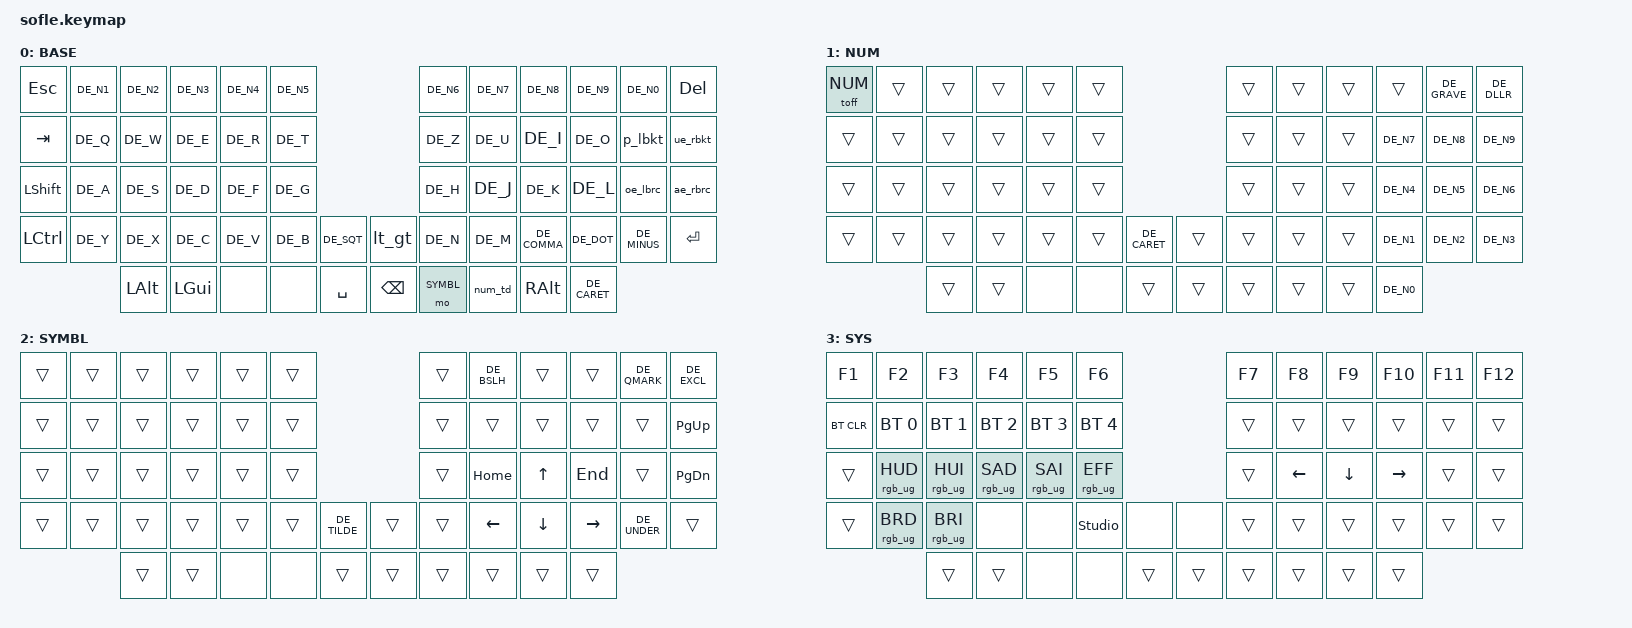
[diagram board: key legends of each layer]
/*
 * Copyright (c) 2020 The ZMK Contributors
 *
 * SPDX-License-Identifier: MIT
 */

#include <behaviors.dtsi>
#include <dt-bindings/zmk/keys.h>
#include <dt-bindings/zmk/bt.h>
#include <dt-bindings/zmk/modifiers.h>
#include <dt-bindings/zmk/rgb.h>


#include "ch-de.h"

#define BASE  0
#define NUM   1
#define SYMBL 2
#define SYS   3

/ {
        conditional_layers {
                compatible = "zmk,conditional-layers";

                system_layer {
                        if-layers = <NUM SYMBL>;
                        then-layer = <SYS>;
                };
        };

        behaviors {
                lt_gt: less_greater {
                        compatible = "zmk,behavior-mod-morph";
                        #binding-cells = <0>;
                        bindings = <&kp DE_LT>, <&kp DE_GT>;
                        mods = <(MOD_LSFT|MOD_RSFT)>;
                };

                tld_crt: tilde_caret {
                        compatible = "zmk,behavior-mod-morph";
                        #binding-cells = <0>;
                        bindings = <&kp DE_TILDE>, <&kp DE_CARET>;
                        mods = <(MOD_LSFT|MOD_RSFT)>;
                };

                dllr_excl: dollar_exclamation {
                        compatible = "zmk,behavior-mod-morph";
                        #binding-cells = <0>;
                        bindings = <&kp DE_DLLR>, <&kp DE_EXCL>;
                        mods = <(MOD_LSFT|MOD_RSFT)>;
                };

                p_lbkt: p_left_bracket {
                        compatible = "zmk,behavior-mod-morph";
                        #binding-cells = <0>;
                        bindings = <&kp DE_P>, <&kp DE_U_UMLAUT>;
                        mods = <(MOD_RALT)>;
                };

                ue_rbkt: ue_right_bracket {
                        compatible = "zmk,behavior-mod-morph";
                        #binding-cells = <0>;
                        bindings = <&kp DE_U_UMLAUT>, <&kp DE_UMLAUT>;
                        mods = <(MOD_RALT)>;
                };

                oe_lbrc: oe_left_brace {
                        compatible = "zmk,behavior-mod-morph";
                        #binding-cells = <0>;
                        bindings = <&kp DE_O_UMLAUT>, <&kp DE_A_UMLAUT>;
                        mods = <(MOD_RALT)>;
                };

                ae_rbrc: ae_right_brace {
                        compatible = "zmk,behavior-mod-morph";
                        #binding-cells = <0>;
                        bindings = <&kp DE_A_UMLAUT>, <&kp DE_DLLR>;
                        mods = <(MOD_RALT)>;
                };

                ton: toggle_layer_on {
                        compatible = "zmk,behavior-toggle-layer";
                        #binding-cells = <1>;
                        toggle-mode = "on";
                };

                toff: toggle_layer_off {
                        compatible = "zmk,behavior-toggle-layer";
                        #binding-cells = <1>;
                        toggle-mode = "off";
                };

                mo_none: momentary_layer_no_tap {
                        compatible = "zmk,behavior-hold-tap";
                        #binding-cells = <2>;
                        flavor = "hold-preferred";
                        tapping-term-ms = <200>;
                        bindings = <&mo>, <&none>;
                };

                num_td: number_layer_tap_dance {
                        compatible = "zmk,behavior-tap-dance";
                        #binding-cells = <0>;
                        tapping-term-ms = <200>;
                        bindings = <&mo_none NUM 0>, <&ton NUM>;
                };
        };

        keymap {
                compatible = "zmk,keymap";

                base_layer {
                        display-name = "BASE";
                        bindings = <
        &kp ESC      &kp DE_N1         &kp DE_N2         &kp DE_N3         &kp DE_N4         &kp DE_N5                                           &kp DE_N6        &kp DE_N7       &kp DE_N8         &kp DE_N9          &kp DE_N0           &kp DEL
        &kp TAB      &kp DE_Q          &kp DE_W          &kp DE_E          &kp DE_R          &kp DE_T                                            &kp DE_Z         &kp DE_U        &kp DE_I          &kp DE_O           &p_lbkt             &ue_rbkt
        &kp LSHFT    &kp DE_A          &kp DE_S          &kp DE_D          &kp DE_F          &kp DE_G                                            &kp DE_H         &kp DE_J        &kp DE_K          &kp DE_L           &oe_lbrc            &ae_rbrc
        &kp LCTRL    &kp DE_Y          &kp DE_X          &kp DE_C          &kp DE_V          &kp DE_B         &kp DE_SQT         &lt_gt          &kp DE_N         &kp DE_M        &kp DE_COMMA      &kp DE_DOT         &kp DE_MINUS        &kp RET
                                       &kp LALT          &kp LGUI          &none             &none            &kp SPACE          &kp BACKSPACE   &mo SYMBL        &num_td         &kp RALT          &kp DE_CARET
                        >;
                };

                number_layer {
                        display-name = "NUM";
                        bindings = <
        &toff NUM    &trans            &trans            &trans            &trans            &trans                                               &trans           &trans          &trans            &trans             &kp DE_GRAVE         &kp DE_DLLR
        &trans       &trans            &trans            &trans            &trans            &trans                                               &trans           &trans          &trans            &kp DE_N7          &kp DE_N8            &kp DE_N9
        &trans       &trans            &trans            &trans            &trans            &trans                                               &trans           &trans          &trans            &kp DE_N4          &kp DE_N5            &kp DE_N6
        &trans       &trans            &trans            &trans            &trans            &trans            &kp DE_CARET       &trans          &trans           &trans          &trans            &kp DE_N1          &kp DE_N2            &kp DE_N3
                                       &trans            &trans            &none             &none             &trans             &trans          &trans           &trans          &trans            &kp DE_N0
                        >; 
                };

                symbol_layer {
                        display-name = "SYMBL";
                        bindings = <
        &trans       &trans            &trans            &trans            &trans            &trans                                               &trans           &kp DE_BSLH     &trans            &trans             &kp DE_QMARK         &kp DE_EXCL
        &trans       &trans            &trans            &trans            &trans            &trans                                               &trans           &trans          &trans            &trans             &trans               &kp PG_UP
        &trans       &trans            &trans            &trans            &trans            &trans                                               &trans           &kp HOME        &kp UP            &kp END            &trans               &kp PG_DN
        &trans       &trans            &trans            &trans            &trans            &trans            &kp DE_TILDE       &trans          &trans           &kp LEFT        &kp DOWN          &kp RIGHT          &kp DE_UNDER         &trans
                                       &trans            &trans            &none             &none             &trans             &trans          &trans           &trans          &trans            &trans
                        >;
                };

                system_layer {
                        display-name = "SYS";
                        bindings = <
        &kp F1       &kp F2            &kp F3            &kp F4            &kp F5            &kp F6                                               &kp F7           &kp F8          &kp F9            &kp F10            &kp F11              &kp F12
        &bt BT_CLR   &bt BT_SEL 0      &bt BT_SEL 1      &bt BT_SEL 2      &bt BT_SEL 3      &bt BT_SEL 4                                         &trans           &trans          &trans            &trans             &trans               &trans
        &trans       &rgb_ug RGB_HUD   &rgb_ug RGB_HUI   &rgb_ug RGB_SAD   &rgb_ug RGB_SAI   &rgb_ug RGB_EFF                                      &trans           &kp LEFT        &kp DOWN          &kp RIGHT          &trans               &trans
        &trans       &rgb_ug RGB_BRD   &rgb_ug RGB_BRI   &none             &none             &studio_unlock    &none              &none           &trans           &trans          &trans            &trans             &trans               &trans
                                       &trans            &trans            &none             &none             &trans             &trans          &trans           &trans          &trans            &trans
                        >;
                };
        };
};
